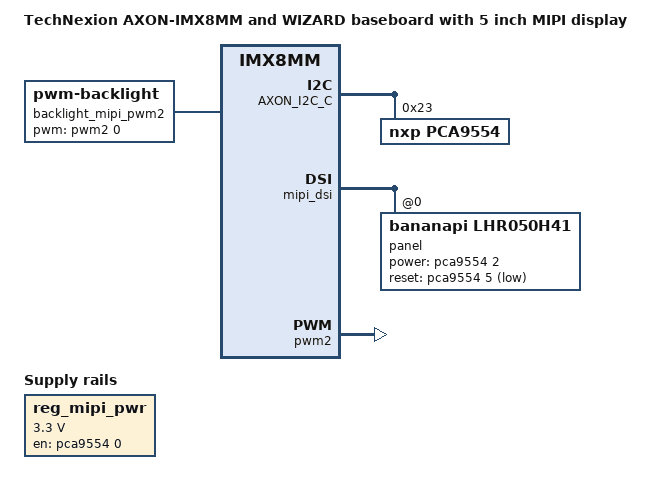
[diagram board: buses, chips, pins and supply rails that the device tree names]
/*
 * Copyright 2019 Technexion Ltd.
 * Copyright 2018 NXP
 *
 * Author: Andy Lin <andy.lin@technexion.com>
 *
 * This program is free software; you can redistribute it and/or
 * modify it under the terms of the GNU General Public License
 * as published by the Free Software Foundation; either version 2
 * of the License, or (at your option) any later version.
 *
 * This program is distributed in the hope that it will be useful,
 * but WITHOUT ANY WARRANTY; without even the implied warranty of
 * MERCHANTABILITY or FITNESS FOR A PARTICULAR PURPOSE.  See the
 * GNU General Public License for more details.
 */

/dts-v1/;

#include "imx8mm-axon-wizard.dts"

/ {
	model = "TechNexion AXON-IMX8MM and WIZARD baseboard with 5 inch MIPI display";

	regulators {
		reg_mipi_pwr: regulator_mipipwr {
			pinctrl-names = "default";
			compatible = "regulator-fixed";
			regulator-name = "mipi_pwr";
			regulator-min-microvolt = <3300000>;
			regulator-max-microvolt = <3300000>;
			gpio = <&pca9554 0 GPIO_ACTIVE_HIGH>;
			regulator-always-on;
			enable-active-high;
		};
	
		reg_backlight_pwr {
			status = "disabled";
		};
	};

	backlight_mipi_pwm2 {
		compatible = "pwm-backlight";
		pwms = <&pwm2 0 50000 0>;
		brightness-levels = <0 36 72 108 144 180 216 255>;
		default-brightness-level = <7>;
		status = "okay";
	};
};

&iomuxc {
	imx8mm-axon {
		pinctrl_dsi_pwm: dsi_pwm {
			fsl,pins = <
				MX8MM_IOMUXC_SPDIF_RX_PWM2_OUT			0x16	/* DSI PWM */
			>;
		};
	};
};

&AXON_I2C_C {  // I2C_C
	status = "okay";

	pca9554: pca9554@23 {
		compatible = "nxp,pca9554";
		pinctrl-names = "default";
		reg = <0x23>;
		gpio-controller;
		#gpio-cells = <2>;
		status = "okay";
	};
};

&mipi_dsi {
	status = "okay";
	panel@0 {
		compatible = "bananapi,lhr050h41", "ilitek,ili9881c";
		power-gpio = <&pca9554 2 GPIO_ACTIVE_HIGH>;
		reset-gpio = <&pca9554 5 GPIO_ACTIVE_LOW>;
		reg = <0>; 
		timing-mode = <0>;
		video-mode = <2>;
		/*
		0: burst mode
		1: non-burst mode with sync event
		2: non-burst mode with sync pulse
		*/
		status = "okay";
	};
};

&pwm1 {
	status = "disabled";
};

&pwm2 {
	pinctrl-names = "default";
	pinctrl-0 = <&pinctrl_dsi_pwm>;
	status = "okay";
};
